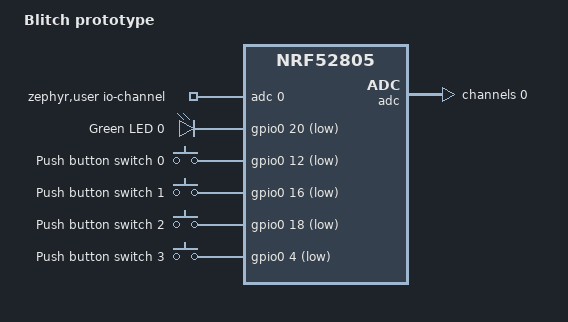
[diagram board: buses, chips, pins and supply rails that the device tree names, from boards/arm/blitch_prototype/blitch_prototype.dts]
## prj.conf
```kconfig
#
# Copyright (c) 2018 Nordic Semiconductor
#
# SPDX-License-Identifier: LicenseRef-Nordic-5-Clause
#

# Logger module
CONFIG_LOG=n

# ADC for battery voltage measurement
CONFIG_ADC=y

# Button and LED library
CONFIG_DK_LIBRARY=y

# Bluetooth LE
CONFIG_BT=y
CONFIG_BT_DEVICE_NAME="Blitch"
CONFIG_BT_CTLR_TX_PWR_PLUS_8=y

# Increase stack size for the main thread and System Workqueue
CONFIG_SYSTEM_WORKQUEUE_STACK_SIZE=2048
CONFIG_MAIN_STACK_SIZE=2048

# === Power management ===
CONFIG_PM_DEVICE=y
CONFIG_PM_DEVICE_RUNTIME=y

# Disable console to decrease power consumption
CONFIG_CONSOLE=n
CONFIG_SERIAL=n
CONFIG_UART_CONSOLE=n

CONFIG_GPIO=n
```

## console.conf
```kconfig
# Enable console for debugging
CONFIG_CONSOLE=y
CONFIG_SERIAL=y
CONFIG_UART_CONSOLE=y
```

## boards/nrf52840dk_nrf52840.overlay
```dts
/ {
	zephyr,user {
		io-channels = <&adc 0>;
	};
};

&adc {
	#address-cells = <1>;
	#size-cells = <0>;
	status = "okay";
	channel@0 {
		reg = <0>;
		zephyr,gain = "ADC_GAIN_1_6";
		zephyr,reference = "ADC_REF_INTERNAL";
		zephyr,acquisition-time = <ADC_ACQ_TIME_DEFAULT>;
		zephyr,input-positive = <NRF_SAADC_VDD >;
		zephyr,resolution = <12>;
	};
};
```

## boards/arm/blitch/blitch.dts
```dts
// Copyright (c) 2024 Nordic Semiconductor ASA
// SPDX-License-Identifier: Apache-2.0

/dts-v1/;
#include <nordic/nrf52805_caaa.dtsi>

/ {
	model = "blitch";
	compatible = "dadantech,blitch";

	zephyr,user {
		io-channels = <&adc 0>;
	};
	
	chosen {
		zephyr,sram = &sram0;
		zephyr,flash = &flash0;
		zephyr,code-partition = &slot0_partition;
	};

	// leds {
	// 	compatible = "gpio-leds";
	// 	led0: led_0 {
	// 		gpios = <&gpio0 12 GPIO_ACTIVE_LOW>;
	// 		label = "Green LED 0";
	// 	};
	// };

	buttons {
		compatible = "gpio-keys";
		button0: button_0 {
			gpios = <&gpio0 14 (GPIO_PULL_UP | GPIO_ACTIVE_LOW)>;
			label = "Push button switch 0";
			zephyr,code = <INPUT_KEY_0>;
		};
		button1: button_1 {
			gpios = <&gpio0 5 (GPIO_PULL_UP | GPIO_ACTIVE_LOW)>;
			label = "Push button switch 1";
			zephyr,code = <INPUT_KEY_1>;
		};
		button2: button_2 {
			gpios = <&gpio0 16 (GPIO_PULL_UP | GPIO_ACTIVE_LOW)>;
			label = "Push button switch 2";
			zephyr,code = <INPUT_KEY_2>;
		};
		button3: button_3 {
			gpios = <&gpio0 18 (GPIO_PULL_UP | GPIO_ACTIVE_LOW)>;
			label = "Push button switch 3";
			zephyr,code = <INPUT_KEY_3>;
		};
	};
};

&gpio0 {
	status = "okay";
	sense-edge-mask = < 0xffffffff >;
};

&gpiote {
	status = "okay";
};

&flash0 {
	partitions {
		compatible = "fixed-partitions";
		#address-cells = <1>;
		#size-cells = <1>;

		boot_partition: partition@0 {
			label = "mcuboot";
			reg = <0x0 0xc000>;
		};
		slot0_partition: partition@c000 {
			label = "image-0";
			reg = <0xc000 0xa000>;
		};
		slot1_partition: partition@16000 {
			label = "image-1";
			reg = <0x16000 0xa000>;
		};
		scratch_partition: partition@20000 {
			label = "image-scratch";
			reg = <0x20000 0xa000>;
		};
		storage_partition: partition@2a000 {
			label = "storage";
			reg = <0x2a000 0x6000>;
		};
	};
};

&adc {
	#address-cells = <1>;
	#size-cells = <0>;
	status = "okay";
	channel@0 {
		reg = <0>;
		zephyr,gain = "ADC_GAIN_1_6";
		zephyr,reference = "ADC_REF_INTERNAL";
		zephyr,acquisition-time = <ADC_ACQ_TIME_DEFAULT>;
		zephyr,input-positive = <NRF_SAADC_VDD >;
		zephyr,resolution = <12>;
	};
};
```

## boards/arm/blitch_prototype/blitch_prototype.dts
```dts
// Copyright (c) 2024 Nordic Semiconductor ASA
// SPDX-License-Identifier: Apache-2.0

/dts-v1/;
#include <nordic/nrf52805_caaa.dtsi>

/ {
	model = "Blitch prototype";
	compatible = "dadantech,blitch-prototype";

	zephyr,user {
		io-channels = <&adc 0>;
	};
	
	chosen {
		zephyr,sram = &sram0;
		zephyr,flash = &flash0;
		zephyr,code-partition = &slot0_partition;
	};

	leds {
		compatible = "gpio-leds";
		led0: led_0 {
			gpios = <&gpio0 20 GPIO_ACTIVE_LOW>;
			label = "Green LED 0";
		};
	};

	buttons {
		compatible = "gpio-keys";
		button0: button_0 {
			gpios = <&gpio0 12 (GPIO_PULL_UP | GPIO_ACTIVE_LOW)>;
			label = "Push button switch 0";
			zephyr,code = <INPUT_KEY_0>;
		};
		button1: button_1 {
			gpios = <&gpio0 16 (GPIO_PULL_UP | GPIO_ACTIVE_LOW)>;
			label = "Push button switch 1";
			zephyr,code = <INPUT_KEY_1>;
		};
		button2: button_2 {
			gpios = <&gpio0 18 (GPIO_PULL_UP | GPIO_ACTIVE_LOW)>;
			label = "Push button switch 2";
			zephyr,code = <INPUT_KEY_2>;
		};
		button3: button_3 {
			gpios = <&gpio0 4 (GPIO_PULL_UP | GPIO_ACTIVE_LOW)>;
			label = "Push button switch 3";
			zephyr,code = <INPUT_KEY_3>;
		};
	};
};

&gpio0 {
	status = "okay";
};

&gpiote {
	status = "okay";
};

&flash0 {
	partitions {
		compatible = "fixed-partitions";
		#address-cells = <1>;
		#size-cells = <1>;

		boot_partition: partition@0 {
			label = "mcuboot";
			reg = <0x0 0xc000>;
		};
		slot0_partition: partition@c000 {
			label = "image-0";
			reg = <0xc000 0xa000>;
		};
		slot1_partition: partition@16000 {
			label = "image-1";
			reg = <0x16000 0xa000>;
		};
		scratch_partition: partition@20000 {
			label = "image-scratch";
			reg = <0x20000 0xa000>;
		};
		storage_partition: partition@2a000 {
			label = "storage";
			reg = <0x2a000 0x6000>;
		};
	};
};

&adc {
	#address-cells = <1>;
	#size-cells = <0>;
	status = "okay";
	channel@0 {
		reg = <0>;
		zephyr,gain = "ADC_GAIN_1_6";
		zephyr,reference = "ADC_REF_INTERNAL";
		zephyr,acquisition-time = <ADC_ACQ_TIME_DEFAULT>;
		zephyr,input-positive = <NRF_SAADC_VDD >;
		zephyr,resolution = <12>;
	};
};
```

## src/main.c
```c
#include <zephyr/kernel.h>
#include <zephyr/logging/log.h>
#include <zephyr/bluetooth/bluetooth.h>
#include <zephyr/bluetooth/gap.h>
#include <zephyr/drivers/adc.h>
#include <dk_buttons_and_leds.h>
#include "bthome.h"

#define COMPANY_ID_CODE 0xfcd2
#define ADV_TIMEOUT_MS	5000
#define BATT_ALKALINE_VOLTAGE_MV_FULL	(2400u)		// [mv]
#define BATT_ALKALINE_VOLTAGE_MV_EMPTY	(2000u)		// [mV]


static void adv_timer_handler(struct k_timer *timer);
static void my_work_handler(struct k_work *work);
static int update_battery(void);

K_TIMER_DEFINE(adv_timer, adv_timer_handler, NULL);
K_WORK_DEFINE(my_work, my_work_handler);

typedef struct blitch_packet {
	uint8_t bthome_id;			// BTHome Device Information (0x40)
	uint8_t packet_id_type;		// (0x00)
	uint8_t packet_id;			// packet counter to filter duplicate events
	uint8_t battery_id_type;	// battery state of charge type
	uint8_t battery;			// [%]
	uint8_t button1_id_type;	// event type - button (0x3a)
	uint8_t button1_event;		// 0 - no event, 1 - press
	uint8_t button2_id_type;	// event type - button (0x3a)
	uint8_t button2_event;		// 0 - no event, 1 - press
	uint8_t button3_id_type;	// event type - button (0x3a)
	uint8_t button3_event;		// 0 - no event, 1 - press
	uint8_t button4_id_type;	// event type - button (0x3a)
	uint8_t button4_event;		// 0 - no event, 1 - press

} blitch_packet_t;

static const struct adc_dt_spec adc_channel = ADC_DT_SPEC_GET(DT_PATH(zephyr_user));
static int16_t adc_buf;
static struct adc_sequence adc_seq = {
	.buffer = &adc_buf,
	.buffer_size = sizeof(adc_buf),
	// optional .calibrate = true,
};

/* Declare the structure for your custom data  */
typedef struct adv_mfg_data {
	uint16_t company_code; /* Company Identifier Code. */
	blitch_packet_t blitch_packet;
} adv_mfg_data_type;

#define USER_BUTTONS (DK_BTN1_MSK | DK_BTN2_MSK | DK_BTN3_MSK | DK_BTN4_MSK)

/* Create an LE Advertising Parameters variable */
static struct bt_le_adv_param *adv_param =
	BT_LE_ADV_PARAM(BT_LE_ADV_OPT_USE_IDENTITY  | 		// static address
					BT_LE_ADV_OPT_CODED , 				// coded PHY (long range)
			100, /* Min Advertising Interval 100ms (100*0.625ms) */
			101, /* Max Advertising Interval 100.625ms (101*0.625ms) */
			NULL); /* Set to NULL for undirected advertising */

/* Define and initialize a variable of type adv_mfg_data_type */
static adv_mfg_data_type adv_mfg_data = { COMPANY_ID_CODE, {
											.bthome_id = BTHOME_DEVICE_PACKET_V2 | BTHOME_DEVICE_ADV_IRREGULAR | BTHOME_DEVICE_ENCRYPTION_OFF,
											.packet_id_type = BTHOME_PACKET_ID,
											.packet_id = 0,
											.battery_id_type = BTHOME_SENSOR_BATTERY,
											.battery = 0,
											.button1_id_type = BTHOME_EVENT_TYPE_BUTTON,
											.button1_event = 0,
											.button2_id_type = BTHOME_EVENT_TYPE_BUTTON,
											.button2_event = 0,
											.button3_id_type = BTHOME_EVENT_TYPE_BUTTON,
											.button3_event = 0,
											.button4_id_type = BTHOME_EVENT_TYPE_BUTTON,
											.button4_event = 0,
											}};

LOG_MODULE_REGISTER(main, LOG_LEVEL_INF);

#define DEVICE_NAME CONFIG_BT_DEVICE_NAME
#define DEVICE_NAME_LEN (sizeof(DEVICE_NAME) - 1)

#define RUN_STATUS_LED DK_LED1
#define RUN_LED_BLINK_INTERVAL 1000

static const struct bt_data ad[] = {
	BT_DATA_BYTES(BT_DATA_FLAGS, BT_LE_AD_NO_BREDR),
	BT_DATA(BT_DATA_NAME_COMPLETE, DEVICE_NAME, DEVICE_NAME_LEN),
	/* Include the Manufacturer Specific Data in the advertising packet. */
	// BT_DATA(BT_DATA_MANUFACTURER_DATA, (unsigned char *)&adv_mfg_data, sizeof(adv_mfg_data)),
	BT_DATA(BT_DATA_SVC_DATA16, (unsigned char *)&adv_mfg_data, sizeof(adv_mfg_data)),
};

/**
 * @brief Start advertising and timer for disabling it after defined time
 * 
 * @return int 0 - OK
 */
static int start_adv_timeout_timer(void)
{
	int err;

	err = bt_le_adv_start(adv_param, ad, ARRAY_SIZE(ad), NULL, 0);
	if (err) 
	{
		LOG_ERR("Advertising failed to start (err %d)\n", err);
		return err;
	}

	k_timer_start(&adv_timer, K_MSEC(ADV_TIMEOUT_MS), K_NO_WAIT);
	LOG_INF("Advertising successfully started");

	return 0;
}

static void adv_timer_handler(struct k_timer *timer)
{
	LOG_INF("Timer expired, calling work queue");
	k_work_submit(&my_work);
}

static void my_work_handler(struct k_work *work)
{
	LOG_INF("Disabling BLE advertising");
	bt_le_adv_stop();
}

static void print_adv(void)
{
	LOG_INF("ID: 0x%02x", adv_mfg_data.blitch_packet.bthome_id);
	LOG_INF("Packet counter: 0x%02x, 0x%02x", adv_mfg_data.blitch_packet.packet_id_type, adv_mfg_data.blitch_packet.packet_id);
	LOG_INF("Battery: 0x%02x, 0x%02x", adv_mfg_data.blitch_packet.battery_id_type, adv_mfg_data.blitch_packet.battery);
	LOG_INF("Button 1: 0x%02x, 0x%02x", adv_mfg_data.blitch_packet.button1_id_type, adv_mfg_data.blitch_packet.button1_event);
	LOG_INF("Button 2: 0x%02x, 0x%02x", adv_mfg_data.blitch_packet.button2_id_type, adv_mfg_data.blitch_packet.button2_event);
	LOG_INF("Button 3: 0x%02x, 0x%02x", adv_mfg_data.blitch_packet.button3_id_type, adv_mfg_data.blitch_packet.button3_event);
	LOG_INF("Button 4: 0x%02x, 0x%02x", adv_mfg_data.blitch_packet.button4_id_type, adv_mfg_data.blitch_packet.button4_event);
}

/* Add the definition of callback function and update the advertising data dynamically */
static void button_changed(uint32_t button_state, uint32_t has_changed)
{
	if (has_changed & USER_BUTTONS) 
	{
		if (button_state)		// if any button is pressed
		{
			bt_le_adv_stop();
			update_battery();

			LOG_INF("Button pressed - state: 0x%04x", button_state);

			adv_mfg_data.blitch_packet.button1_event = button_state & DK_BTN1_MSK ? BTHOME_EVENT_BUTTON_PRESS : BTHOME_EVENT_BUTTON_NONE;
			adv_mfg_data.blitch_packet.button2_event = button_state & DK_BTN2_MSK ? BTHOME_EVENT_BUTTON_PRESS : BTHOME_EVENT_BUTTON_NONE;
			adv_mfg_data.blitch_packet.button3_event = button_state & DK_BTN3_MSK ? BTHOME_EVENT_BUTTON_PRESS : BTHOME_EVENT_BUTTON_NONE;
			adv_mfg_data.blitch_packet.button4_event = button_state & DK_BTN4_MSK ? BTHOME_EVENT_BUTTON_PRESS : BTHOME_EVENT_BUTTON_NONE;

			start_adv_timeout_timer();

			// adv_mfg_data.blitch_packet.button1_event = 0x01;			// always send button press event but with every press increment packet id
			++adv_mfg_data.blitch_packet.packet_id;

			print_adv();
			bt_le_adv_start(adv_param, ad, ARRAY_SIZE(ad), NULL, 0);
		}
	}
}
/* Define the initialization function of the buttons and setup interrupt.  */
static int init_button(void)
{
	int err;

	err = dk_buttons_init(button_changed);
	if (err) {
		printk("Cannot init buttons (err: %d)\n", err);
	}

	return err;
}

static int init_adc(void)
{
	int err;

	if (!adc_is_ready_dt(&adc_channel)) {
		LOG_ERR("ADC controller devivce %s not ready", adc_channel.dev->name);
		return -EIO;
	}

	err = adc_channel_setup_dt(&adc_channel);
	if (err < 0)
	{
		LOG_ERR("Could not setup ADC channel #0 (err: %d)", err);
		return err;
	}

	err = adc_sequence_init_dt(&adc_channel, &adc_seq);
	if (err)
	{
		LOG_ERR("Could not initialize ADC sequence (err: %d)", err);
		return err;
	}

	return 0;
}

static int get_battery_voltage(uint32_t *voltage_mv)
{
	int err;
	int battery_voltage_mv;

	err = adc_read(adc_channel.dev, &adc_seq);
	if (err)
	{
		LOG_ERR("Could not read from ADC (err: %d)", err);
		return err;
	}

	// to prevent the battery voltage from becoming negative number
	battery_voltage_mv = adc_buf > 0 ? adc_buf : 0;

	err = adc_raw_to_millivolts_dt(&adc_channel, &battery_voltage_mv);
	if (err < 0)
	{
		LOG_WRN("Cannot convert ADC value to milivolts");
		*voltage_mv = 0;
		return -EIO;
	}
	
	LOG_INF("Battery voltage: %d mV", battery_voltage_mv);
	*voltage_mv = battery_voltage_mv;
	return 0;
}

/**
 * @brief Update battery state in BLE adverising data
 * 
 * @return int 0 - OK
 */
static int update_battery(void)
{
	uint32_t battery_voltage_mv;
	uint8_t percentage = 0;
	int err;

	err = get_battery_voltage(&battery_voltage_mv);
	if (err)
	{
		return err;
	}

	// for 2xAAA batteries
	if (battery_voltage_mv >= BATT_ALKALINE_VOLTAGE_MV_FULL)
	{
		percentage = 100;
	}
	else if (battery_voltage_mv <= BATT_ALKALINE_VOLTAGE_MV_EMPTY)
	{
		percentage = 0;
	}
	else
	{
		percentage = ( 100 * (battery_voltage_mv - BATT_ALKALINE_VOLTAGE_MV_EMPTY) ) / (BATT_ALKALINE_VOLTAGE_MV_FULL - BATT_ALKALINE_VOLTAGE_MV_EMPTY);
	}

	LOG_INF("Battery: %d %%", percentage);
	adv_mfg_data.blitch_packet.battery = percentage;

	return 0;
}

int main(void)
{
	int err;

	LOG_INF("BThome Buttons\n");

	// err = dk_leds_init();
	// if (err) {
	// 	LOG_ERR("LEDs init failed (err %d)\n", err);
	// 	return err;
	// }

	/* Setup buttons on your board  */
	err = init_button();
	if (err) {
		printk("Button init failed (err %d)\n", err);
		return err;
	}

	// Setup ADC
	err = init_adc();
	if (err)
	{
		LOG_ERR("ADC initialization failed!");
		return err;
	}

	err = update_battery();
	if (err)
	{
		LOG_ERR("Failed to update battery %%");
		return err;
	}

	err = bt_enable(NULL);
	if (err) {
		LOG_ERR("Bluetooth init failed (err %d)\n", err);
		return err;
	}

	LOG_INF("Bluetooth initialized\n");

	print_adv();
	err = start_adv_timeout_timer();
	if (err)
	{
		LOG_ERR("Failed to start advertising!");
		return 0;
	}

	for (;;) {
		k_sleep(K_FOREVER);
	}
}
```

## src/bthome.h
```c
#ifndef SRC_BTHOME
#define SRC_BTHOME

#define BTHOME_PACKET_TYPE                      0x40

#define BTHOME_DEVICE_PACKET_V2                 0x40
#define BTHOME_DEVICE_ADV_REGULAR               0x00        // device is sending BLE advertisements at a regular interval
#define BTHOME_DEVICE_ADV_IRREGULAR             0x04        // device is sending BLE advertisements at a irregular interval (e.g. only when someone pushes a button)
#define BTHOME_DEVICE_ENCRYPTION_ON             0x01
#define BTHOME_DEVICE_ENCRYPTION_OFF            0x00

#define BTHOME_PACKET_ID                        0x00

// Sensor data
#define BTHOME_SENSOR_BATTERY                   0x01        // uint8_t [%]
#define BTHOME_SENSOR_TEMPERATURE_SINT8         0x57        // sint8_t [degC]

// Binary Sensor data
#define BTHOME_SENSOR_BIN_VIBRATION             0x2C        // 0 (False = Clear) 1 (True = Detected)

// Events
#define BTHOME_EVENT_TYPE_BUTTON                0x3A
#define BTHOME_EVENT_TYPE_DIMMER                0x3C

#define BTHOME_EVENT_BUTTON_NONE                0x00
#define BTHOME_EVENT_BUTTON_PRESS               0x01
#define BTHOME_EVENT_BUTTON_DOUBLE_PRESS        0x02
#define BTHOME_EVENT_BUTTON_TRIPLE_PRESS        0x03
#define BTHOME_EVENT_BUTTON_LONG_PRESS          0x04
#define BTHOME_EVENT_BUTTON_LONG_DOUBLE_PRESS   0x05
#define BTHOME_EVENT_BUTTON_LONG_TRIPLE_PRESS   0x06
#define BTHOME_EVENT_BUTTON_HOLD_PRESS          0x80

#endif /* SRC_BTHOME */
```
